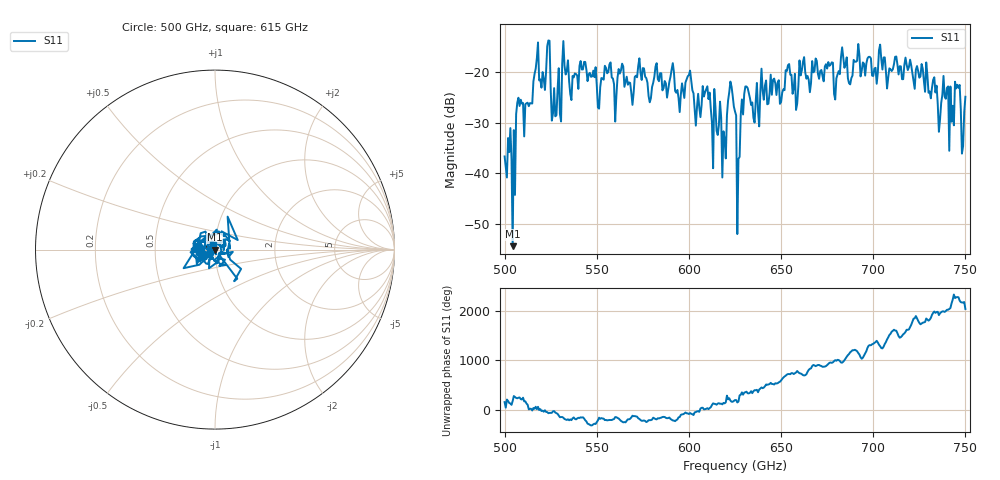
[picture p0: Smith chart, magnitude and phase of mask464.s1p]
!Created with skrf (http://scikit-rf.org).
# GHz S MA R 50.0
!freq magS11 angS11
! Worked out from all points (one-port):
!   401 points, 500 GHz to 750 GHz, reference 50 ohm
!   lowest |S11| = -54.4 dB at 504.4 GHz (marker M1), VSWR 1.00, Z = 49.8 - j0.0198 ohm
!   |S11| at or under -10 dB: start of sweep to end of sweep
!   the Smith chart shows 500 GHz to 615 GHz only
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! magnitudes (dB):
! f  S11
! 500 GHz  -36.7
! 504.4 GHz  -54.4
! 507.5 GHz  -25.1
! 513.8 GHz  -26.1
! 516.9 GHz  -19.3
! 523.8 GHz  -13.7
! 526.9 GHz  -23.2
! 531.2 GHz  -18.3
! 562.5 GHz  -20.3
! 578.8 GHz  -26.0
! 590.6 GHz  -19.5
! 593.8 GHz  -23.5
! 610 GHz  -22.8
! 618.8 GHz  -31.7
! 622.5 GHz  -21.9
! 625 GHz  -27.8
! 627.5 GHz  -36.8
! 631.2 GHz  -22.8
! 635 GHz  -29.0
! 656.2 GHz  -24.3
! 680 GHz  -21.2
! 683.8 GHz  -17.2
! 687.5 GHz  -22.4
! 691.2 GHz  -17.8
! 718.8 GHz  -19.6
! 736.2 GHz  -29.3
! 745.6 GHz  -22.5
! 750 GHz  -24.9
